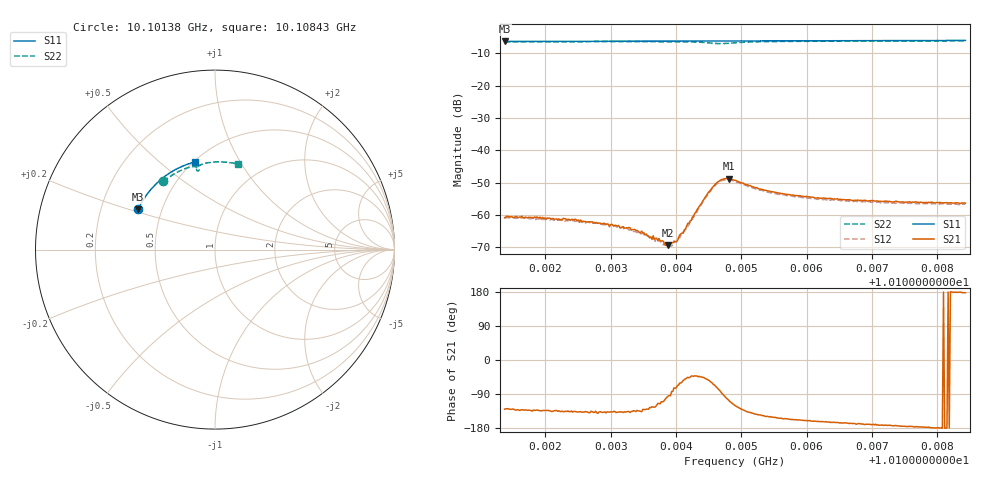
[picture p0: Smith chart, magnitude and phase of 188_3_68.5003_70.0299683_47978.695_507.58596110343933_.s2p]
#  HZ  S  RI  R  50.00
! Rohde & Schwarz Vector Network Analyzer
! Rohde-Schwarz,ZNB20-2Port,1311601062101988,3.16
! Created: UTC 3/20/2024, 4:57:00 PM
! freq[Hz]  re:S11  im:S11  re:S21  im:S21  re:S12  im:S12  re:S22  im:S22
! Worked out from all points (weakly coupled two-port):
!   401 points, 10.10138 GHz to 10.10843 GHz, reference 50 ohm
!   highest |S21| = -48.73 dB at 10.10482 GHz (marker M1); lowest = -69.4 dB at 10.10388 GHz (marker M2)
!   lowest |S11| = -6.3 dB at 10.10138 GHz (marker M3), VSWR 2.87, Z = 18.3 + j10.8 ohm
!   |S11| at or under -10 dB: nowhere
!   |S22| runs from -7.0 to -6.1 dB; largest |S21 - S12| = 0.00037
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1.0101377e10  -0.4278 0.2246  -0.000582 -0.0007  -0.000529 -0.000745  -0.2871 0.3795
1.0101871e10  -0.4143 0.2515  -0.000627 -0.000695  -0.000516 -0.000698  -0.2617 0.3991
1.0102558e10  -0.3928 0.2874  -0.000588 -0.00053  -0.0005 -0.000586  -0.2241 0.4236
1.0102805e10  -0.3845 0.2998  -0.000573 -0.00047  -0.000522 -0.00055  -0.2097 0.4314
1.0103264e10  -0.3678 0.3222  -0.000455 -0.000443  -0.000402 -0.00046  -0.182 0.4448
1.0103511e10  -0.3583 0.3339  -0.000345 -0.000402  -0.000295 -0.000398  -0.1662 0.4512
1.0103599e10  -0.3548 0.3378  -0.000257 -0.000363  -0.000226 -0.00038  -0.1604 0.4534
1.010374e10  -0.3491 0.3442  -0.000181 -0.000393  -0.000164 -0.000357  -0.1506 0.4564
1.0103881e10  -0.3432 0.3506  -3.1e-05 -0.000337  -2.84e-05 -0.000349  -0.1406 0.4592
1.0103916e10  -0.3419 0.3521  -2.73e-05 -0.000366  3.33e-05 -0.000328  -0.1378 0.4599
1.0103987e10  -0.3389 0.3553  0.000105 -0.000377  0.000123 -0.000357  -0.1326 0.4609
1.010404e10  -0.3366 0.3575  0.00018 -0.000408  0.000232 -0.000376  -0.1284 0.4616
1.0104128e10  -0.333 0.3614  0.000364 -0.000466  0.000402 -0.000389  -0.1214 0.4621
1.0104463e10  -0.3181 0.3754  0.00127 -0.0015  0.00135 -0.00134  -0.0927 0.4543
1.0104586e10  -0.3127 0.3805  0.00117 -0.00261  0.00135 -0.00241  -0.0887 0.4438
1.0104692e10  -0.3078 0.3846  0.000272 -0.00349  0.000551 -0.00333  -0.094 0.4376
1.0104816e10  -0.3025 0.3893  -0.00112 -0.00349  -0.000763 -0.0034  -0.1021 0.4427
1.0104904e10  -0.2983 0.3929  -0.00172 -0.00298  -0.0014 -0.00299  -0.1024 0.4506
1.0105398e10  -0.2749 0.4115  -0.00201 -0.00124  -0.00183 -0.00131  -0.0711 0.4762
1.0106085e10  -0.2401 0.4345  -0.00179 -0.000598  -0.00165 -0.000742  -0.0234 0.4864
1.0107267e10  -0.1764 0.4668  -0.00162 -0.000213  -0.00152 -0.000358  0.0544 0.4876
1.0108431e10  -0.1096 0.489  -0.00153 6.74e-05  -0.00147 -0.000109  0.1283 0.4764
